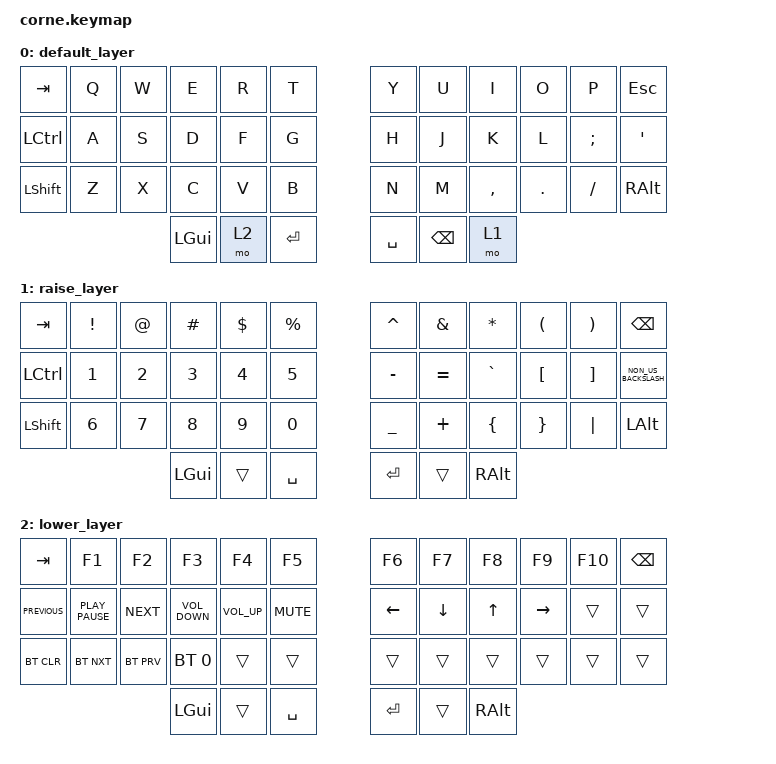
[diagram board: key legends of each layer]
/*
 * Copyright (c) 2020 The ZMK Contributors
 *
 * SPDX-License-Identifier: MIT
 */

#include <behaviors.dtsi>
#include <dt-bindings/zmk/bt.h>
#include <dt-bindings/zmk/keys.h>

/ {
    combos {
        compatible = "zmk,combos";

        ctrl_opt {
            bindings = <&kp LEFT_ALT>;
            key-positions = <40>;
        };
    };

    keymap {
        compatible = "zmk,keymap";

        default_layer {
            // -----------------------------------------------------------------------------------------
            // |  TAB |  Q  |  W  |  E  |  R  |  T  |   |  Y  |  U   |  I  |  O  |  P  | BKSP |
            // | CTRL |  A  |  S  |  D  |  F  |  G  |   |  H  |  J   |  K  |  L  |  ;  |  '   |
            // | SHFT |  Z  |  X  |  C  |  V  |  B  |   |  N  |  M   |  ,  |  .  |  /  | ESC  |
            //                    | GUI | LWR | SPC |   | ENT | RSE  | ALT |

            bindings = <
&kp TAB    &kp Q  &kp W  &kp E     &kp R  &kp T         &kp Y      &kp U          &kp I      &kp O    &kp P     &kp ESCAPE
&kp LCTRL  &kp A  &kp S  &kp D     &kp F  &kp G         &kp H      &kp J          &kp K      &kp L    &kp SEMI  &kp SQT
&kp LSHFT  &kp Z  &kp X  &kp C     &kp V  &kp B         &kp N      &kp M          &kp COMMA  &kp DOT  &kp FSLH  &kp RIGHT_ALT
                         &kp LGUI  &mo 2  &kp RETURN    &kp SPACE  &kp BACKSPACE  &mo 1
            >;
        };

        raise_layer {
            // -----------------------------------------------------------------------------------------
            // |  TAB |  !  |  @  |  #  |  $  |  %  |   |  ^  |  &  |  *  |  (  |  )  | BKSP |
            // | CTRL |     |     |     |     |     |   |  -  |  =  |  [  |  ]  |  \  |  `   |
            // | SHFT |     |     |     |     |     |   |  _  |  +  |  {  |  }  | "|" |  ~   |
            //                    | GUI |     | SPC |   | ENT |     | ALT |

            bindings = <
&kp TAB    &kp EXCL      &kp AT        &kp HASH      &kp DLLR      &kp PRCNT    &kp CARET  &kp AMPS   &kp ASTRK  &kp LPAR          &kp RPAR           &kp BSPC
&kp LCTRL  &kp NUMBER_1  &kp NUMBER_2  &kp NUMBER_3  &kp NUMBER_4  &kp N5       &kp MINUS  &kp EQUAL  &kp GRAVE  &kp LEFT_BRACKET  &kp RIGHT_BRACKET  &kp NON_US_BACKSLASH
&kp LSHFT  &kp NUMBER_6  &kp N7        &kp N8        &kp N9        &kp N0       &kp UNDER  &kp PLUS   &kp LBRC   &kp RBRC          &kp PIPE           &kp LEFT_ALT
                                       &kp LGUI      &trans        &kp SPACE    &kp RET    &trans     &kp RALT
            >;
        };

        lower_layer {
            // -----------------------------------------------------------------------------------------
            // |  TAB |  1  |  2  |  3  |  4  |  5  |   |  6  |  7  |  8  |  9  |  0  | BKSP |
            // | BTCLR| BT1 | BT2 | BT3 | BT4 | BT5 |   | LFT | DWN |  UP | RGT |     |      |
            // | SHFT |     |     |     |     |     |   |     |     |     |     |     |      |
            //                    | GUI |     | SPC |   | ENT |     | ALT |

            bindings = <
&kp TAB         &kp F1            &kp F2      &kp F3             &kp F4           &kp F5        &kp F6    &kp F7    &kp F8    &kp F9     &kp F10  &kp BSPC
&kp K_PREVIOUS  &kp K_PLAY_PAUSE  &kp C_NEXT  &kp C_VOLUME_DOWN  &kp C_VOLUME_UP  &kp K_MUTE    &kp LEFT  &kp DOWN  &kp UP    &kp RIGHT  &trans   &trans
&bt BT_CLR      &bt BT_NXT        &bt BT_PRV  &bt BT_SEL 0       &trans           &trans        &trans    &trans    &trans    &trans     &trans   &trans
                                              &kp LGUI           &trans           &kp SPACE     &kp RET   &trans    &kp RALT
            >;
        };
    };
};
